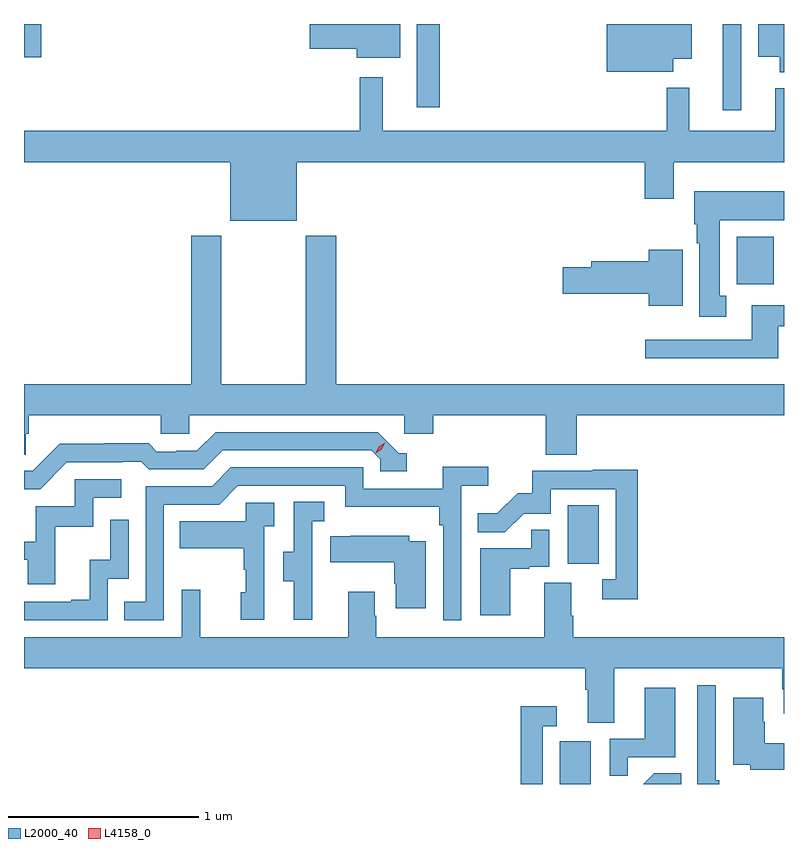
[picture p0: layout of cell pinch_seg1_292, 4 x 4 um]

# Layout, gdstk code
import gdstk
lib = gdstk.Library(unit=1e-6, precision=1e-09)
def R(c, l, rs):  # rectangles x0, y0, x1, y1
    for r in rs: c.add(gdstk.rectangle(r[:2], r[2:], *l))
def P(c, l, *ps):  # polygons
    for p in ps: c.add(gdstk.Polygon(p, *l))
L2000_40 = (2000, 40)
L4158_0 = (4158, 0)

pinch_seg1_292 = lib.new_cell('pinch_seg1_292')
R(pinch_seg1_292, L2000_40, [(926.114,560.447,926.278,560.671), (926.156,561.606,926.32,561.913), (927.045,563.076,927.241,563.326), (926.972,563.994,927.069,564.447), (925.361,564.009,925.483,564.447), (923.294,564.273,923.384,564.447)])
P(pinch_seg1_292, L2000_40, [(925.273,564.447),(924.798,564.447),(924.798,564.316),(925.046,564.316),(925.046,564.269),(925.273,564.269)],
  [(927.294,564.447),(927.158,564.447),(927.158,564.275),(927.272,564.275),(927.272,564.194),(927.294,564.194)],
  [(926.71,564.263),(926.809,564.263),(926.809,564.447),(926.36,564.447),(926.36,564.197),(926.71,564.197)],
  [(924.73,563.72),(926.561,563.72),(926.561,563.526),(926.713,563.526),(926.713,563.72),(927.294,563.72),(927.294,564.109),(927.248,564.109),(927.248,563.884),(926.795,563.884),(926.795,564.112),(926.677,564.112),(926.677,563.884),(925.183,563.884),(925.183,564.166),(925.062,564.166),(925.062,563.884),(923.294,563.884),(923.294,563.72),(924.38,563.72),(924.38,563.411),(924.73,563.411)],
  [(926.989,563.017),(926.956,563.017),(926.956,563.414),(927.294,563.414),(927.294,563.566),(926.822,563.566),(926.822,563.394),(926.834,563.394),(926.834,563.294),(926.849,563.294),(926.849,562.905),(926.989,562.905)],
  [(923.303,562.29),(923.318,562.29),(923.318,562.388),(924.015,562.388),(924.015,562.29),(924.165,562.29),(924.165,562.388),(925.296,562.388),(925.296,562.29),(925.448,562.29),(925.448,562.388),(926.039,562.388),(926.039,562.18),(926.204,562.18),(926.204,562.388),(927.294,562.388),(927.294,562.552),(924.938,562.552),(924.938,563.332),(924.778,563.332),(924.778,562.552),(924.333,562.552),(924.333,563.332),(924.173,563.332),(924.173,562.552),(923.294,562.552),(923.294,562.18),(923.303,562.18)],
  [(926.761,563.26),(926.582,563.26),(926.582,563.198),(926.279,563.198),(926.279,563.168),(926.13,563.168),(926.13,563.026),(926.582,563.026),(926.582,562.964),(926.761,562.964)],
  [(927.265,562.857),(927.294,562.857),(927.294,562.966),(927.125,562.966),(927.125,562.785),(926.565,562.785),(926.565,562.688),(927.265,562.688)],
  [(923.52,562.14),(923.813,562.14),(923.813,562.143),(923.912,562.143),(923.951,562.104),(924.24,562.104),(924.339,562.203),(925.122,562.203),(925.17,562.155),(925.17,562.092),(925.309,562.092),(925.309,562.188),(925.266,562.188),(925.155,562.299),(924.302,562.299),(924.203,562.2),(924.096,562.2),(924.096,562.197),(923.993,562.197),(923.951,562.24),(923.718,562.24),(923.718,562.237),(923.482,562.237),(923.34,562.095),(923.294,562.095),(923.294,561.999),(923.379,561.999)],
  [(924.03,561.918),(924.321,561.918),(924.42,562.017),(924.984,562.017),(924.984,561.905),(925.48,561.905),(925.48,561.809),(925.5,561.809),(925.5,561.309),(925.596,561.309),(925.596,562.016),(925.738,562.016),(925.738,562.118),(925.499,562.118),(925.499,562.002),(925.08,562.002),(925.08,562.113),(924.383,562.113),(924.284,562.014),(923.934,562.014),(923.934,561.405),(923.821,561.405),(923.821,561.309),(924.03,561.309)],
  [(926.525,562.1),(926.287,562.1),(926.287,562.095),(925.969,562.095),(925.969,561.978),(925.892,561.978),(925.785,561.871),(925.681,561.871),(925.681,561.772),(925.825,561.772),(925.923,561.87),(926.067,561.87),(926.067,561.999),(926.409,561.999),(926.409,561.525),(926.337,561.525),(926.337,561.42),(926.525,561.42)],
  [(923.459,561.801),(923.658,561.801),(923.658,561.954),(923.806,561.954),(923.806,562.05),(923.562,562.05),(923.562,561.909),(923.357,561.909),(923.357,561.723),(923.294,561.723),(923.294,561.627),(923.315,561.627),(923.315,561.498),(923.459,561.498)],
  [(924.812,561.525),(924.81,561.525),(924.81,561.829),(924.874,561.829),(924.874,561.932),(924.714,561.932),(924.714,561.669),(924.659,561.669),(924.659,561.514),(924.713,561.514),(924.713,561.312),(924.812,561.312)],
  [(924.558,561.803),(924.61,561.803),(924.61,561.927),(924.462,561.927),(924.462,561.829),(924.115,561.829),(924.115,561.689),(924.45,561.689),(924.45,561.575),(924.46,561.575),(924.46,561.456),(924.434,561.456),(924.434,561.312),(924.558,561.312)],
  [(923.736,561.528),(923.844,561.528),(923.844,561.838),(923.748,561.838),(923.748,561.626),(923.639,561.626),(923.639,561.418),(923.543,561.418),(923.543,561.405),(923.294,561.405),(923.294,561.309),(923.736,561.309)],
  [(925.852,561.579),(925.952,561.579),(925.952,561.591),(926.058,561.591),(926.058,561.785),(925.963,561.785),(925.963,561.687),(925.694,561.687),(925.694,561.336),(925.852,561.336)],
  [(925.408,561.724),(925.321,561.724),(925.321,561.754),(925.015,561.754),(925.015,561.751),(924.907,561.751),(924.907,561.614),(925.243,561.614),(925.243,561.501),(925.25,561.501),(925.25,561.372),(925.408,561.372)],
  [(926.249,560.944),(926.261,560.944),(926.261,560.77),(926.401,560.77),(926.401,561.056),(927.286,561.056),(927.286,560.945),(927.293,560.945),(927.293,560.817),(927.294,560.817),(927.294,561.22),(926.186,561.22),(926.186,561.332),(926.173,561.332),(926.173,561.506),(926.033,561.506),(926.033,561.22),(925.149,561.22),(925.149,561.332),(925.141,561.332),(925.141,561.46),(925.001,561.46),(925.001,561.22),(924.221,561.22),(924.221,561.469),(924.123,561.469),(924.123,561.22),(923.294,561.22),(923.294,561.056),(926.249,561.056)],
  [(926.954,560.467),(926.934,560.467),(926.934,560.968),(926.838,560.968),(926.838,560.447),(926.954,560.447)],
  [(926.471,560.589),(926.722,560.589),(926.722,560.953),(926.561,560.953),(926.561,560.685),(926.376,560.685),(926.376,560.491),(926.471,560.491)],
  [(927.294,560.662),(927.192,560.662),(927.192,560.774),(927.184,560.774),(927.184,560.902),(927.026,560.902),(927.026,560.549),(927.117,560.549),(927.117,560.522),(927.294,560.522)],
  [(926.025,560.751),(926.098,560.751),(926.098,560.857),(925.909,560.857),(925.909,560.447),(926.025,560.447)],
  [(926.753,560.504),(926.61,560.504),(926.553,560.447),(926.753,560.447)])
P(pinch_seg1_292, L4158_0, [(925.145,562.189),(925.145,562.19),(925.161,562.222),(925.192,562.242),(925.192,562.242),(925.192,562.242),(925.176,562.209),(925.145,562.189)])

lib.write_gds('pinch_seg1_292.gds')
